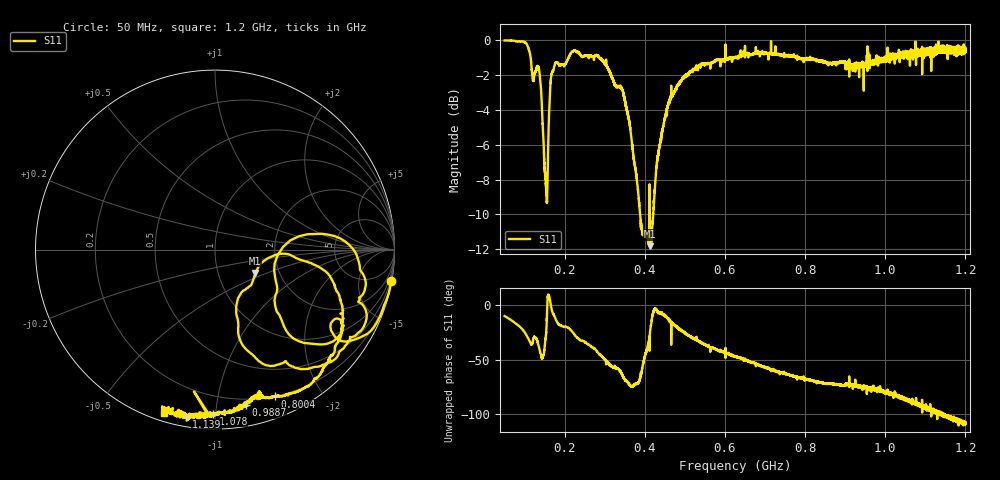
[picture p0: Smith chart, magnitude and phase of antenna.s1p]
! Calibrated NanoVNA antenna measurement, band-limited to the calibrated dynamic range
! Samples with nonfinite or |Gamma| >= 1 were excluded; see broadband-excluded.json
# Hz S RI R 50
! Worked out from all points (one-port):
!   39999 points, 50 MHz to 1.2 GHz, reference 50 ohm
!   lowest |S11| = -11.8 dB at 411.6 MHz (marker M1), VSWR 1.69, Z = 74.7 - j20.9 ohm
!   |S11| at or under -10 dB: 388.3 MHz to 411.7 MHz (23.34 MHz wide, 5.84 % of centre); 411.7 MHz to 420.8 MHz (9.093 MHz wide, 2.18 % of centre); 420.7946 MHz to 420.8767 MHz (82.03 kHz wide, 0.0195 % of centre)
!   S11 on the Smith chart (normalised r, x): 50 MHz: 0, -11; 800.4 MHz: 0.20, -1.47; 988.7 MHz: 0.15, -1.21; 1.078 GHz: 0.09, -0.98; 1.139 GHz: 0.05, -0.84; 1.2 GHz: 0.06, -0.73
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5e7  0.9829 -0.1769
9.821375e7  0.9028 -0.4041
1.1256e8  0.7744 -0.5024
1.258712e8  0.7038 -0.4018
1.376875e8  0.5936 -0.5289
1.508838e8  0.342 -0.2385
1.553688e8  0.3347 -0.0746
1.616362e8  0.6418 0.0811
1.710662e8  0.8088 -0.115
1.9375e8  0.8029 -0.2852
2.1974e8  0.8423 -0.3923
2.7563e8  0.6878 -0.5843
3.375e8  0.3658 -0.637
3.704475e8  0.1294 -0.4591
3.925275e8  0.1435 -0.2481
4.116462e8  0.2203 -0.1309
4.27545e8  0.4122 -0.0278
4.560938e8  0.6275 -0.1326
4.8125e8  0.6951 -0.2571
6.25e8  0.6078 -0.6523
7.6875e8  0.3817 -0.8132
8.004325e8  0.3348 -0.8179
9.125e8  0.2462 -0.8008
9.88745e8  0.1722 -0.8655
1.05625e9  0.0548 -0.9055
1.077755e9  -0.0119 -0.9141
1.139309e9  -0.1622 -0.9304
1.2e9  -0.2865 -0.8848
